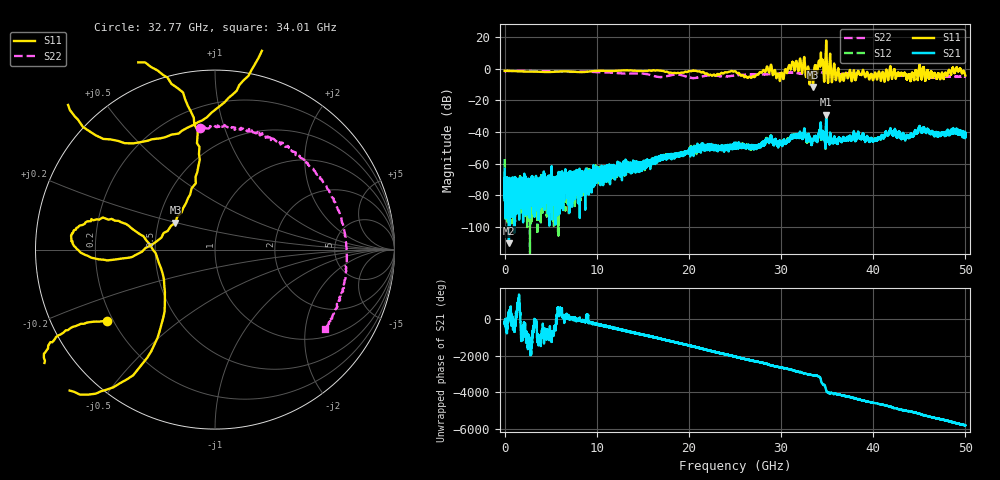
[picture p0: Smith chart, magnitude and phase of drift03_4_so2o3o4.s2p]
!Created with skrf (http://scikit-rf.org).
# Hz S RI R 50.0
!freq ReS11 ImS11 ReS21 ImS21 ReS12 ImS12 ReS22 ImS22
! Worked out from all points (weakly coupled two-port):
!   10001 points, 300 kHz to 50 GHz, reference 50 ohm
!   highest |S21| = -29.09 dB at 34.89 GHz (marker M1); lowest = -110.4 dB at 470.3 MHz (marker M2)
!   lowest |S11| = -11.5 dB at 33.47 GHz (marker M3), VSWR 1.73, Z = 30.7 + j9.91 ohm
!   |S11| at or under -10 dB: 33.44286 GHz to 33.48831 GHz (45.45 MHz wide, 0.136 % of centre)
!   |S22| runs from -5.9 to -1.3 dB; largest |S21 - S12| = 0.0087
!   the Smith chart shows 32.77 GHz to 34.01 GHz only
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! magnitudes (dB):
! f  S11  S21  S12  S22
! 300 kHz  -1.3  -63.4  -57.1  -2.1
! 255.3 MHz  -1.3  -77.2  -77.3  -1.4
! 470.3 MHz  -1.4  -110.4  -73.6  -1.5
! 8.335 GHz  -2.2  -69.7  -67.1  -1.9
! 16.67 GHz  -1.1  -57.4  -56.7  -5.2
! 25 GHz  -1.5  -49.8  -47.8  -4.3
! 26.92 GHz  -4.9  -49.7  -49.1  -3.6
! 28.73 GHz  -2.3  -44.5  -45.6  -3.5
! 30.06 GHz  -2.5  -47.6  -48.0  -2.9
! 31.08 GHz  -0.4  -42.8  -43.9  -2.5
! 31.88 GHz  -1.7  -42.9  -42.1  -2.9
! 33.34 GHz  -2.2  -48.1  -47.1  -2.9
! 33.47 GHz  -11.5  -44.6  -45.0  -2.8
! 34.3 GHz  7.3  -33.9  -35.4  -2.3
! 34.89 GHz  17.6  -29.1  -31.3  -2.4
! 36.59 GHz  -3.5  -45.9  -45.9  -3.6
! 40.17 GHz  -2.7  -44.8  -44.3  -3.7
! 41.67 GHz  -5.9  -40.6  -41.1  -3.6
! 43.67 GHz  -6.5  -42.0  -42.2  -4.0
! 45.2 GHz  -5.3  -40.5  -39.1  -4.5
! 47.06 GHz  -3.2  -42.2  -41.7  -5.1
! 50 GHz  -4.4  -43.3  -41.2  -5.0
